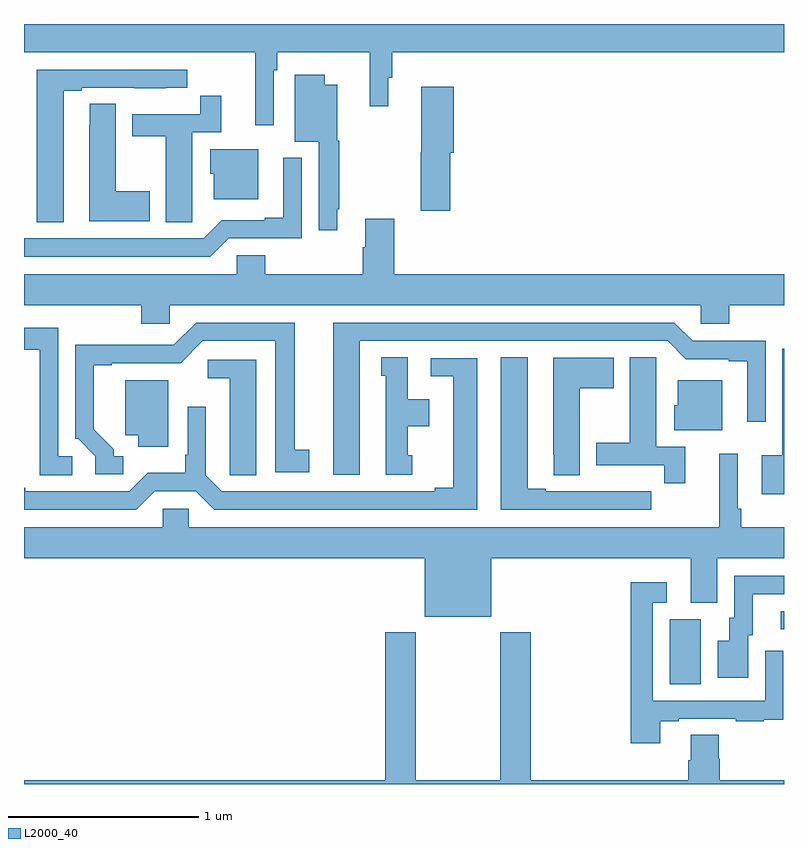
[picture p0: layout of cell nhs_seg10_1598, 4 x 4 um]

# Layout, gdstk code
import gdstk
lib = gdstk.Library(unit=1e-6, precision=1e-09)
def R(c, l, rs):  # rectangles x0, y0, x1, y1
    for r in rs: c.add(gdstk.rectangle(r[:2], r[2:], *l))
def P(c, l, *ps):  # polygons
    for p in ps: c.add(gdstk.Polygon(p, *l))
L2000_40 = (2000, 40)

nhs_seg10_1598 = lib.new_cell('nhs_seg10_1598')
R(nhs_seg10_1598, L2000_40, [(198.398,1261.024,198.562,1261.368), (198.984,1261.314,199,1261.41)])
P(nhs_seg10_1598, L2000_40, [(196.314,1264.256),(196.334,1264.256),(196.334,1264.352),(196.819,1264.352),(196.819,1264.068),(196.918,1264.068),(196.918,1264.218),(196.937,1264.218),(196.937,1264.352),(199,1264.352),(199,1264.5),(195,1264.5),(195,1264.352),(196.217,1264.352),(196.217,1263.966),(196.314,1263.966)],
  [(195.208,1264.149),(195.304,1264.149),(195.304,1264.164),(195.58,1264.164),(195.58,1264.163),(195.746,1264.163),(195.746,1264.164),(195.859,1264.164),(195.859,1264.26),(195.068,1264.26),(195.068,1263.457),(195.208,1263.457)],
  [(196.648,1263.526),(196.66,1263.526),(196.66,1263.885),(196.648,1263.885),(196.648,1264.18),(196.582,1264.18),(196.582,1264.234),(196.424,1264.234),(196.424,1263.881),(196.551,1263.881),(196.551,1263.414),(196.648,1263.414)],
  [(197.243,1263.822),(197.261,1263.822),(197.261,1264.171),(197.09,1264.171),(197.09,1263.822),(197.089,1263.822),(197.089,1263.516),(197.243,1263.516)],
  [(195.885,1263.568),(195.886,1263.568),(195.886,1263.93),(196.037,1263.93),(196.037,1264.123),(195.928,1264.123),(195.928,1264.026),(195.569,1264.026),(195.569,1263.91),(195.746,1263.91),(195.746,1263.457),(195.885,1263.457)],
  [(195.661,1263.621),(195.484,1263.621),(195.484,1264.079),(195.345,1264.079),(195.345,1263.971),(195.344,1263.971),(195.344,1263.461),(195.661,1263.461)],
  [(196.234,1263.841),(195.98,1263.841),(195.98,1263.711),(195.998,1263.711),(195.998,1263.578),(196.234,1263.578)],
  [(196.077,1263.372),(196.461,1263.372),(196.461,1263.796),(196.364,1263.796),(196.364,1263.481),(196.268,1263.481),(196.268,1263.468),(196.041,1263.468),(195.945,1263.372),(195,1263.372),(195,1263.276),(195.981,1263.276)],
  [(195.768,1263.02),(198.561,1263.02),(198.561,1262.922),(198.713,1262.922),(198.713,1263.02),(199,1263.02),(199,1263.184),(196.949,1263.184),(196.949,1263.475),(196.796,1263.475),(196.796,1263.326),(196.784,1263.326),(196.784,1263.184),(196.271,1263.184),(196.271,1263.282),(196.119,1263.282),(196.119,1263.184),(195,1263.184),(195,1263.02),(195.617,1263.02),(195.617,1262.922),(195.768,1262.922)],
  [(195.523,1262.226),(195.472,1262.226),(195.472,1262.261),(195.367,1262.366),(195.367,1262.703),(195.463,1262.703),(195.463,1262.715),(195.825,1262.715),(195.942,1262.832),(196.322,1262.832),(196.322,1262.142),(196.501,1262.142),(196.501,1262.258),(196.426,1262.258),(196.426,1262.928),(195.906,1262.928),(195.789,1262.811),(195.533,1262.811),(195.533,1262.813),(195.27,1262.813),(195.27,1262.316),(195.285,1262.316),(195.375,1262.226),(195.375,1262.13),(195.523,1262.13)],
  [(196.768,1262.832),(198.387,1262.832),(198.483,1262.736),(198.71,1262.736),(198.71,1262.724),(198.806,1262.724),(198.806,1262.406),(198.903,1262.406),(198.903,1262.832),(198.519,1262.832),(198.423,1262.928),(196.628,1262.928),(196.628,1262.127),(196.768,1262.127)],
  [(195.253,1262.226),(195.18,1262.226),(195.18,1262.901),(195,1262.901),(195,1262.785),(195.083,1262.785),(195.083,1262.125),(195.253,1262.125)],
  [(199,1262.791),(198.992,1262.791),(198.992,1262.555),(198.991,1262.555),(198.991,1262.23),(198.884,1262.23),(198.884,1262.024),(199,1262.024)],
  [(198.301,1262.04),(198.188,1262.04),(198.188,1262.041),(198.022,1262.041),(198.022,1262.04),(197.746,1262.04),(197.746,1262.055),(197.65,1262.055),(197.65,1262.747),(197.51,1262.747),(197.51,1261.944),(198.301,1261.944)],
  [(197.044,1262.229),(197.02,1262.229),(197.02,1262.384),(197.134,1262.384),(197.134,1262.524),(197.02,1262.524),(197.02,1262.747),(196.88,1262.747),(196.88,1262.649),(196.904,1262.649),(196.904,1262.127),(197.044,1262.127)],
  [(198.479,1262.274),(198.328,1262.274),(198.328,1262.636),(198.327,1262.636),(198.327,1262.747),(198.188,1262.747),(198.188,1262.295),(198.011,1262.295),(198.011,1262.178),(198.37,1262.178),(198.37,1262.082),(198.479,1262.082)],
  [(197.926,1262.584),(198.103,1262.584),(198.103,1262.743),(197.786,1262.743),(197.786,1262.233),(197.787,1262.233),(197.787,1262.125),(197.926,1262.125)],
  [(195.687,1262.04),(195.905,1262.04),(196.001,1261.944),(197.386,1261.944),(197.386,1262.742),(197.142,1262.742),(197.142,1262.646),(197.258,1262.646),(197.258,1262.06),(197.162,1262.06),(197.162,1262.04),(196.041,1262.04),(195.957,1262.124),(195.957,1262.485),(195.861,1262.485),(195.861,1262.233),(195.849,1262.233),(195.849,1262.137),(195.652,1262.137),(195.555,1262.04),(195.007,1262.04),(195.007,1262.06),(195,1262.06),(195,1261.944),(195.591,1261.944)],
  [(196.222,1262.733),(195.966,1262.733),(195.966,1262.636),(196.082,1262.636),(196.082,1262.233),(196.083,1262.233),(196.083,1262.125),(196.222,1262.125)],
  [(198.676,1262.626),(198.44,1262.626),(198.44,1262.493),(198.422,1262.493),(198.422,1262.363),(198.676,1262.363)],
  [(195.76,1262.626),(195.533,1262.626),(195.533,1262.336),(195.602,1262.336),(195.602,1262.274),(195.76,1262.274)],
  [(197.458,1261.688),(198.509,1261.688),(198.509,1261.453),(198.649,1261.453),(198.649,1261.688),(199,1261.688),(199,1261.852),(198.776,1261.852),(198.776,1261.948),(198.756,1261.948),(198.756,1262.239),(198.659,1262.239),(198.659,1261.852),(195.867,1261.852),(195.867,1261.95),(195.729,1261.95),(195.729,1261.852),(195,1261.852),(195,1261.688),(197.108,1261.688),(197.108,1261.379),(197.458,1261.379)],
  [(198.811,1261.284),(198.835,1261.284),(198.835,1261.5),(199,1261.5),(199,1261.596),(198.738,1261.596),(198.738,1261.374),(198.713,1261.374),(198.713,1261.255),(198.65,1261.255),(198.65,1261.059),(198.811,1261.059)],
  [(198.349,1260.831),(198.445,1260.831),(198.445,1260.843),(198.745,1260.843),(198.745,1260.831),(198.893,1260.831),(198.893,1260.837),(198.995,1260.837),(198.995,1260.946),(198.996,1260.946),(198.996,1261.201),(198.9,1261.201),(198.9,1260.939),(198.309,1260.939),(198.309,1261.455),(198.382,1261.455),(198.382,1261.561),(198.193,1261.561),(198.193,1260.714),(198.349,1260.714)],
  [(199,1260.52),(198.662,1260.52),(198.662,1260.633),(198.657,1260.633),(198.657,1260.758),(198.509,1260.758),(198.509,1260.626),(198.497,1260.626),(198.497,1260.52),(197.666,1260.52),(197.666,1261.3),(197.506,1261.3),(197.506,1260.52),(197.061,1260.52),(197.061,1261.3),(196.901,1261.3),(196.901,1260.52),(195,1260.52),(195,1260.5),(199,1260.5)])

lib.write_gds('nhs_seg10_1598.gds')
